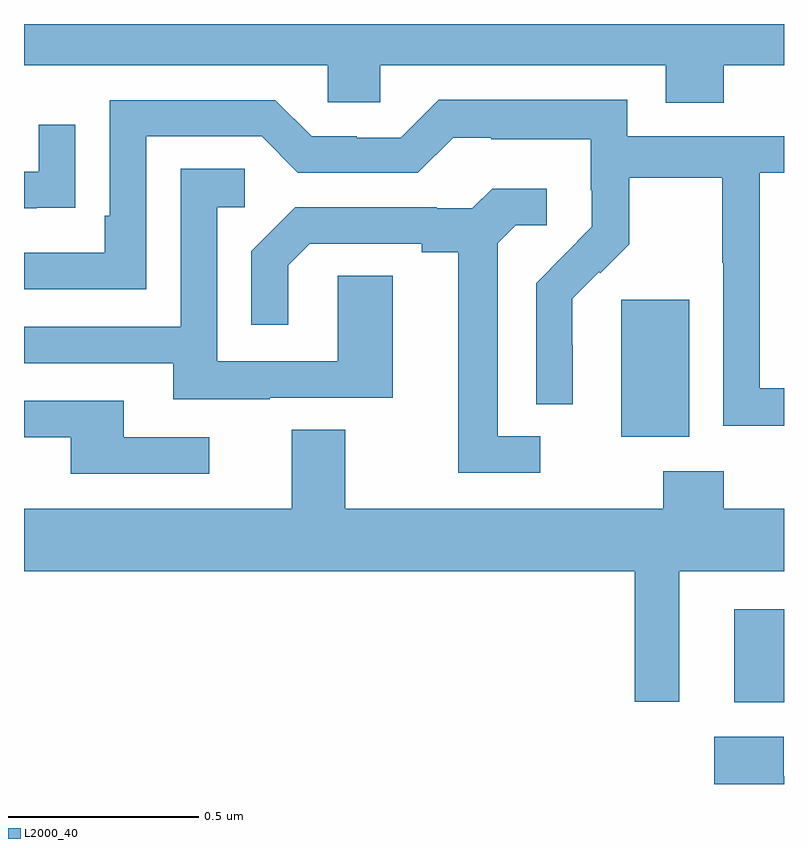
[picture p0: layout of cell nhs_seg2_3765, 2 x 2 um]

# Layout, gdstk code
import gdstk
lib = gdstk.Library(unit=1e-6, precision=1e-09)
def R(c, l, rs):  # rectangles x0, y0, x1, y1
    for r in rs: c.add(gdstk.rectangle(r[:2], r[2:], *l))
def P(c, l, *ps):  # polygons
    for p in ps: c.add(gdstk.Polygon(p, *l))
L2000_40 = (2000, 40)

nhs_seg2_3765 = lib.new_cell('nhs_seg2_3765')
R(nhs_seg2_3765, L2000_40, [(159.869,590.015,160,590.26), (159.572,590.714,159.751,591.075)])
P(nhs_seg2_3765, L2000_40, [(159.842,591.692),(160,591.692),(160,591.8),(158,591.8),(158,591.692),(158.799,591.692),(158.799,591.594),(158.937,591.594),(158.937,591.692),(159.689,591.692),(159.689,591.593),(159.842,591.593)],
  [(160,590.841),(159.936,590.841),(159.936,591.408),(160,591.408),(160,591.504),(159.588,591.504),(159.588,591.601),(159.091,591.601),(158.991,591.501),(158.876,591.501),(158.876,591.504),(158.757,591.504),(158.661,591.6),(158.226,591.6),(158.226,591.295),(158.213,591.295),(158.213,591.198),(158,591.198),(158,591.102),(158.322,591.102),(158.322,591.504),(158.625,591.504),(158.721,591.408),(159.036,591.408),(159.129,591.501),(159.229,591.501),(159.229,591.497),(159.492,591.497),(159.492,591.363),(159.494,591.363),(159.494,591.266),(159.42,591.192),(159.421,591.191),(159.348,591.118),(159.348,590.8),(159.444,590.8),(159.444,590.954),(159.443,590.954),(159.443,591.077),(159.513,591.147),(159.516,591.144),(159.593,591.221),(159.593,591.396),(159.838,591.396),(159.838,591.172),(159.84,591.172),(159.84,590.743),(160,590.743)],
  [(158.033,591.316),(158.135,591.316),(158.135,591.535),(158.039,591.535),(158.039,591.411),(158,591.411),(158,591.315),(158.033,591.315)],
  [(158.647,590.817),(158.971,590.817),(158.971,591.137),(158.826,591.137),(158.826,590.913),(158.508,590.913),(158.508,591.318),(158.581,591.318),(158.581,591.419),(158.412,591.419),(158.412,591.003),(158,591.003),(158,590.907),(158.393,590.907),(158.393,590.813),(158.647,590.813)],
  [(159.358,590.715),(159.247,590.715),(159.247,591.223),(159.294,591.27),(159.376,591.27),(159.376,591.367),(159.232,591.367),(159.18,591.315),(159.086,591.315),(159.086,591.318),(158.714,591.318),(158.598,591.202),(158.598,591.009),(158.695,591.009),(158.695,591.165),(158.752,591.222),(159.047,591.222),(159.047,591.2),(159.143,591.2),(159.143,590.619),(159.358,590.619)],
  [(158.488,590.712),(158.263,590.712),(158.263,590.808),(158,590.808),(158,590.712),(158.123,590.712),(158.123,590.616),(158.488,590.616)],
  [(159.724,590.36),(160,590.36),(160,590.524),(159.842,590.524),(159.842,590.623),(159.682,590.623),(159.682,590.524),(158.845,590.524),(158.845,590.732),(158.705,590.732),(158.705,590.524),(158,590.524),(158,590.36),(159.607,590.36),(159.607,590.016),(159.724,590.016)],
  [(160,589.82),(159.999,589.82),(159.999,589.924),(159.816,589.924),(159.816,589.8),(160,589.8)])

lib.write_gds('nhs_seg2_3765.gds')
